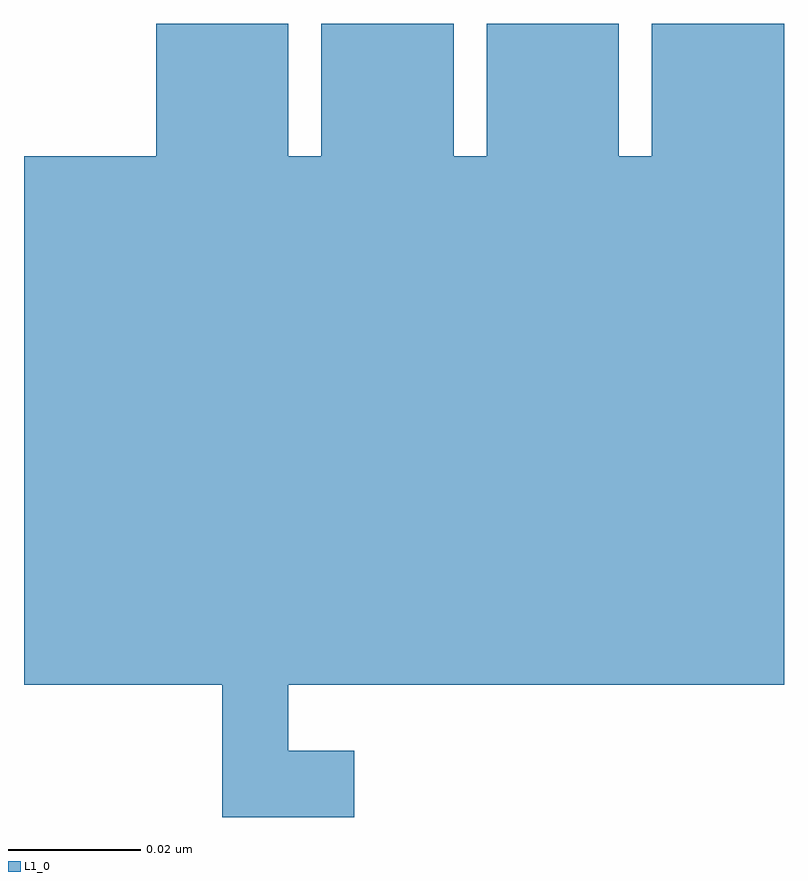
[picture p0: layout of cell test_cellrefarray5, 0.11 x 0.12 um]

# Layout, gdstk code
from math import pi, radians
import gdstk
lib = gdstk.Library(unit=1e-6, precision=1e-09)
def P(c, l, *ps):  # polygons
    for p in ps: c.add(gdstk.Polygon(p, *l))
L1_0 = (1, 0)

test = lib.new_cell('test')
P(test, L1_0, [(0,0),(0,0.02),(0.01,0.02),(0.01,0.01),(0.02,0.01),(0.02,0)])

test_cellrefarray5 = lib.new_cell('test_cellrefarray5')
test_cellrefarray5.add(gdstk.Reference(test, (0,0)))
r = gdstk.Reference(test, (0.01,0.02), rotation=pi/2, magnification=2); r.repetition = gdstk.Repetition(4, 4, v1=(0.025,0), v2=(0,0.02)); test_cellrefarray5.add(r)

lib.write_gds('test_cellrefarray5.gds')
